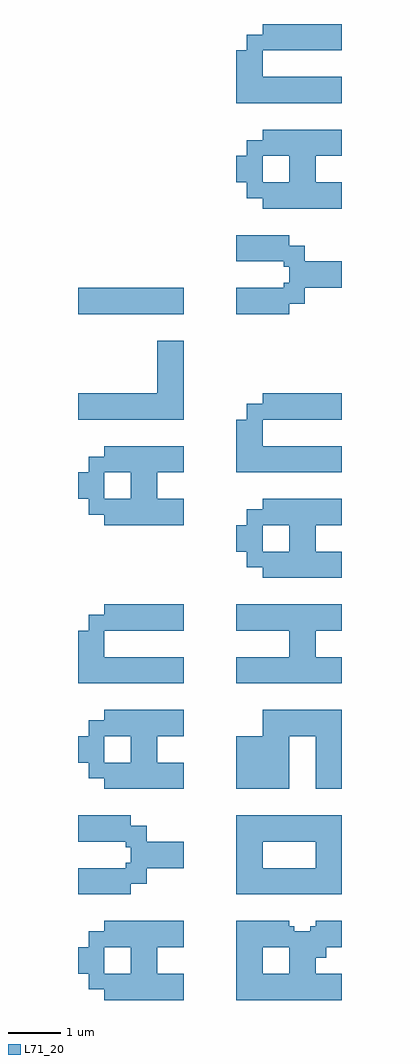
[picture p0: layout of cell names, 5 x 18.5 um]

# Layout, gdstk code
import gdstk
lib = gdstk.Library(unit=1e-6, precision=1e-09)
def R(c, l, rs):  # rectangles x0, y0, x1, y1
    for r in rs: c.add(gdstk.rectangle(r[:2], r[2:], *l))
L71_20 = (71, 20)

names = lib.new_cell('names')
R(names, L71_20, [(1,0.5,2.5,0.7), (3.5,0.5,5.5,1), (0.7,0.7,2.5,1), (0.5,1,1,1.5), (1.5,1,2,1.5), (3.5,1,4,1.5), (4.5,1,5,1.3), (4.5,1.3,5.2,1.5), (0.7,1.5,2.5,1.8), (3.5,1.5,5.5,1.8), (1,1.8,2.5,2), (3.5,1.8,4.6,1.9), (4.9,1.8,5.5,1.9), (3.5,1.9,4.5,2), (5,1.9,5.5,2), (0.5,2.5,1.5,2.7), (3.5,2.5,5.5,3), (0.5,2.7,1.8,3), (1.4,3,2.5,3.1), (3.5,3,4,3.5), (5,3,5.5,3.5), (1.5,3.1,2.5,3.4), (1.4,3.4,2.5,3.5), (0.5,3.5,1.8,3.8), (3.5,3.5,5.5,4), (0.5,3.8,1.5,4), (1,4.5,2.5,4.7), (3.5,4.5,4.5,5.5), (5,4.5,5.5,5.5), (0.7,4.7,2.5,5), (0.5,5,1,5.5), (1.5,5,2,5.5), (0.7,5.5,2.5,5.8), (4,5.5,5.5,6), (1,5.8,2.5,6), (0.5,6.5,2.5,7), (3.5,6.5,5.5,7), (0.5,7,1,7.5), (4.5,7,5,7.5), (0.7,7.5,2.5,7.8), (3.5,7.5,5.5,8), (1,7.8,2.5,8), (4,8.5,5.5,8.7), (3.7,8.7,5.5,9), (3.5,9,4,9.5), (4.5,9,5,9.5), (1,9.5,2.5,9.7), (3.7,9.5,5.5,9.8), (0.7,9.7,2.5,10), (4,9.8,5.5,10), (0.5,10,1,10.5), (1.5,10,2,10.5), (0.7,10.5,2.5,10.8), (3.5,10.5,5.5,11), (1,10.8,2.5,11), (3.5,11,4,11.5), (0.5,11.5,2.5,12), (3.7,11.5,5.5,11.8), (4,11.8,5.5,12), (2,12,2.5,13), (0.5,13.5,2.5,14), (3.5,13.5,4.5,13.7), (3.5,13.7,4.8,14), (4.4,14,5.5,14.1), (4.5,14.1,5.5,14.4), (4.4,14.4,5.5,14.5), (3.5,14.5,4.8,14.8), (3.5,14.8,4.5,15), (4,15.5,5.5,15.7), (3.7,15.7,5.5,16), (3.5,16,4,16.5), (4.5,16,5,16.5), (3.7,16.5,5.5,16.8), (4,16.8,5.5,17), (3.5,17.5,5.5,18), (3.5,18,4,18.5), (3.7,18.5,5.5,18.8), (4,18.8,5.5,19)])

lib.write_gds('names.gds')
